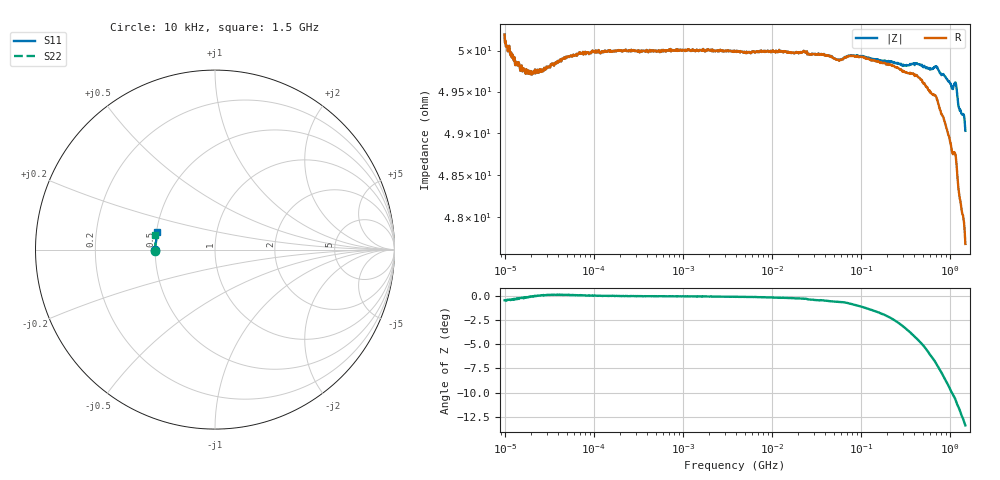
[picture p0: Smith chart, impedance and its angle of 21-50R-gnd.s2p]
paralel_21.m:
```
clear all
close all
clc

%% Load data
sparam = sparameters('mereni/21-50R-gnd.s2p');

Z0 = sparam.Impedance;
f=sparam.Frequencies;
s_params = sparam.Parameters;

abcd_params = s2abcd(s_params, Z0);

C_param = 1./reshape(abcd_params(2,1,:), [],1);

%% Fit
Cx = 3.8e-13;
Rx = 50;
Rcs = 10;

ZL_fit = 1 ./ (1./Rx + 1./(1./(1i * 2 * pi() * Cx * f) + Rcs));

%% Plot
fig = figure('Name','Impedance','NumberTitle','off');
loglog(f/1e9,abs(C_param)/1e3,  'r', f/1e9,abs(ZL_fit)/1e3,'b')
legend('ZNB','Model','Location', 'Best')
xlabel('f [GHz]'), ylabel('|Z| [k\Omega]')
grid on
saveas(fig, 'res/21.png')
```
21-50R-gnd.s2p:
#  HZ  S  DB  R  50.00
! Rohde & Schwarz Vector Network Analyzer
! Rohde-Schwarz,ZNB8-4Port,1334333044101560,3.32
! Created: UTC 3/21/2023, 5:21:28 PM
! freq[Hz]  db:S11  ang:S11  db:S41  ang:S41  db:S14  ang:S14  db:S44  ang:S44
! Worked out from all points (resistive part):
!   1001 points, 10 kHz to 1.5 GHz, reference 50 ohm
!   read as one part in shunt: R = 50.1 ohm at 10.61 kHz
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10000  -9.53 -179.4  -3.50 0.1  -3.49 0.1  -9.54 -179.1
31026.21  -9.53 179.9  -3.54 0.1  -3.53 0.1  -9.53 -180.0
3872983  -9.54 180.0  -3.52 -0.0  -3.52 -0.1  -9.54 179.9
2.259993e7  -9.54 179.7  -3.52 -0.2  -3.52 -0.3  -9.54 179.8
6.606255e7  -9.54 179.2  -3.53 -0.7  -3.53 -0.7  -9.56 179.4
1.383162e8  -9.54 178.3  -3.53 -1.5  -3.53 -1.6  -9.55 178.6
2.201611e8  -9.54 177.3  -3.54 -2.3  -3.53 -2.4  -9.55 177.8
3.901153e8  -9.57 175.4  -3.54 -4.1  -3.53 -4.2  -9.54 176.2
6.359349e8  -9.60 172.4  -3.54 -6.6  -3.52 -6.6  -9.51 173.7
9.766793e8  -9.59 168.4  -3.53 -9.9  -3.50 -9.9  -9.46 170.5
1.5e9  -9.44 163.2  -3.48 -14.4  -3.45 -14.4  -9.20 166.2
